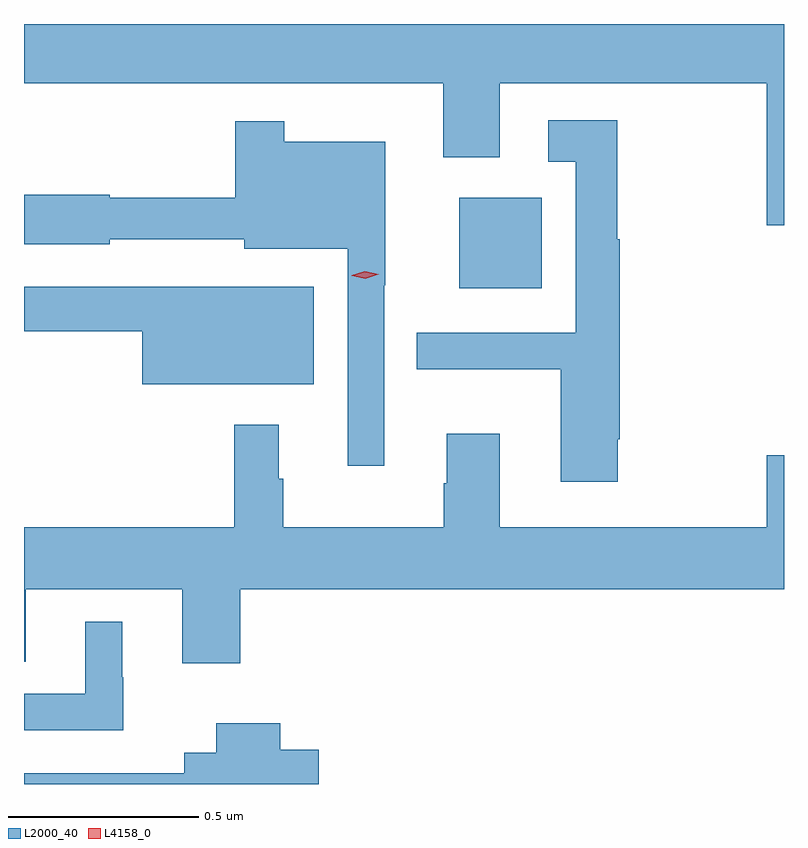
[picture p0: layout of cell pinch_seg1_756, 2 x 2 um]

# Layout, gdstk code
import gdstk
lib = gdstk.Library(unit=1e-6, precision=1e-09)
def R(c, l, rs):  # rectangles x0, y0, x1, y1
    for r in rs: c.add(gdstk.rectangle(r[:2], r[2:], *l))
def P(c, l, *ps):  # polygons
    for p in ps: c.add(gdstk.Polygon(p, *l))
L2000_40 = (2000, 40)
L4158_0 = (4158, 0)

pinch_seg1_756 = lib.new_cell('pinch_seg1_756')
R(pinch_seg1_756, L2000_40, [(871.49,524.552,871.708,524.791)])
P(pinch_seg1_756, L2000_40, [(872.345,525.248),(870.345,525.248),(870.345,525.092),(871.448,525.092),(871.448,524.898),(871.597,524.898),(871.597,525.092),(872.3,525.092),(872.3,524.718),(872.345,524.718)],
  [(871.907,524.155),(871.913,524.155),(871.913,524.682),(871.906,524.682),(871.906,524.995),(871.725,524.995),(871.725,524.885),(871.797,524.885),(871.797,524.436),(871.378,524.436),(871.378,524.339),(871.757,524.339),(871.757,524.043),(871.907,524.043)],
  [(871.293,524.561),(871.295,524.561),(871.295,524.938),(871.03,524.938),(871.03,524.992),(870.901,524.992),(870.901,524.791),(870.57,524.791),(870.57,524.799),(870.345,524.799),(870.345,524.669),(870.57,524.669),(870.57,524.682),(870.924,524.682),(870.924,524.657),(871.197,524.657),(871.197,524.085),(871.293,524.085)],
  [(871.108,524.557),(870.76,524.557),(870.76,524.556),(870.345,524.556),(870.345,524.44),(870.656,524.44),(870.656,524.3),(871.108,524.3)],
  [(870.914,523.76),(872.345,523.76),(872.345,524.113),(872.3,524.113),(872.3,523.924),(871.597,523.924),(871.597,524.17),(871.457,524.17),(871.457,524.039),(871.45,524.039),(871.45,523.924),(871.027,523.924),(871.027,524.051),(871.016,524.051),(871.016,524.194),(870.898,524.194),(870.898,523.924),(870.345,523.924),(870.345,523.57),(870.349,523.57),(870.349,523.76),(870.761,523.76),(870.761,523.566),(870.914,523.566)],
  [(870.606,523.529),(870.604,523.529),(870.604,523.675),(870.506,523.675),(870.506,523.485),(870.345,523.485),(870.345,523.389),(870.606,523.389)],
  [(871.12,523.338),(871.019,523.338),(871.019,523.408),(870.851,523.408),(870.851,523.33),(870.767,523.33),(870.767,523.276),(870.345,523.276),(870.345,523.248),(871.12,523.248)])
P(pinch_seg1_756, L4158_0, [(871.243,524.578),(871.207,524.586),(871.207,524.587),(871.207,524.587),(871.242,524.598),(871.278,524.59),(871.278,524.59),(871.278,524.589)])

lib.write_gds('pinch_seg1_756.gds')
